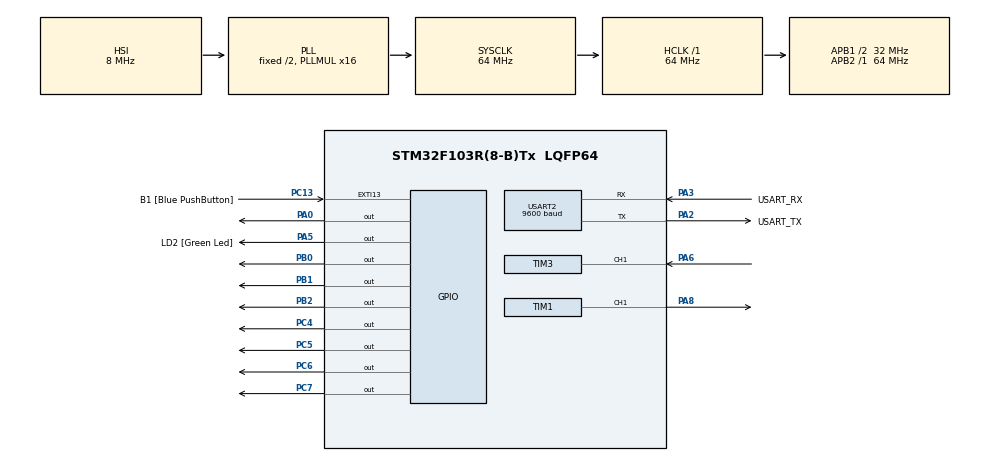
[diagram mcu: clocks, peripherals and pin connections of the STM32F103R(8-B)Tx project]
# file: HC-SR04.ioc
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Mcu.Family=STM32F1
Mcu.Name=STM32F103R(8-B)Tx
Mcu.Package=LQFP64
NVIC.EXTI15_10_IRQn=true\:0\:0\:false\:false\:true\:true
NVIC.PriorityGroup=NVIC_PRIORITYGROUP_4
NVIC.TIM1_BRK_IRQn=true\:0\:0\:false\:false\:true\:true
NVIC.TIM1_CC_IRQn=true\:0\:0\:false\:false\:true\:true
NVIC.TIM1_TRG_COM_IRQn=true\:0\:0\:false\:false\:true\:true
NVIC.TIM1_UP_IRQn=true\:0\:0\:false\:false\:true\:true
NVIC.TIM2_IRQn=true\:0\:0\:false\:false\:true\:true
NVIC.TIM3_IRQn=true\:0\:0\:false\:false\:true\:true
NVIC.TIM4_IRQn=true\:0\:0\:false\:false\:true\:true
NVIC.USART2_IRQn=true\:0\:0\:false\:false\:true\:true
PA0-WKUP.Signal=GPIO_Output
PA13.GPIO_Label=TMS
PA13.Mode=Serial_Wire
PA13.Signal=SYS_JTMS-SWDIO
PA14.GPIO_Label=TCK
PA14.Mode=Serial_Wire
PA14.Signal=SYS_JTCK-SWCLK
PA2.GPIO_Label=USART_TX
PA2.GPIO_Mode=GPIO_MODE_AF_PP
PA2.GPIO_PuPd=GPIO_NOPULL
PA2.GPIO_Speed=GPIO_SPEED_FREQ_LOW
PA2.Mode=Asynchronous
PA2.Signal=USART2_TX
PA3.GPIO_Label=USART_RX
PA3.GPIO_Mode=GPIO_MODE_AF_PP
PA3.GPIO_PuPd=GPIO_NOPULL
PA3.GPIO_Speed=GPIO_SPEED_FREQ_LOW
PA3.Mode=Asynchronous
PA3.Signal=USART2_RX
PA5.GPIO_Label=LD2 [Green Led]
PA5.GPIO_ModeDefaultOutputPP=GPIO_MODE_OUTPUT_PP
PA5.GPIO_PuPd=GPIO_NOPULL
PA5.GPIO_Speed=GPIO_SPEED_FREQ_LOW
PA5.Signal=GPIO_Output
PA6.Signal=S_TIM3_CH1
PA8.Signal=S_TIM1_CH1
PB0.Signal=GPIO_Output
PB1.Signal=GPIO_Output
PB2.Signal=GPIO_Output
PB3.GPIO_Label=SWO
PB3.Signal=SYS_JTDO-TRACESWO
PC13-TAMPER-RTC.GPIO_Label=B1 [Blue PushButton]
PC13-TAMPER-RTC.GPIO_PuPd=GPIO_NOPULL
PC13-TAMPER-RTC.Signal=GPXTI13
PC14-OSC32_IN.Mode=LSE-External-Oscillator
PC14-OSC32_IN.Signal=RCC_OSC32_IN
PC15-OSC32_OUT.Mode=LSE-External-Oscillator
PC15-OSC32_OUT.Signal=RCC_OSC32_OUT
PC4.Signal=GPIO_Output
PC5.Signal=GPIO_Output
PC6.Signal=GPIO_Output
PC7.Signal=GPIO_Output
PD0-OSC_IN.Mode=HSE-External-Clock-Source
PD0-OSC_IN.Signal=RCC_OSC_IN
PD1-OSC_OUT.Mode=HSE-External-Clock-Source
PD1-OSC_OUT.Signal=RCC_OSC_OUT
ProjectManager.HeapSize=0x200
ProjectManager.StackSize=0x400
ProjectManager.TargetToolchain=SW4STM32
RCC.AHBFreq_Value=64000000
RCC.APB1CLKDivider=RCC_HCLK_DIV2
RCC.APB1Freq_Value=32000000
RCC.APB1TimFreq_Value=64000000
RCC.APB2Freq_Value=64000000
RCC.APB2TimFreq_Value=64000000
RCC.HCLKFreq_Value=64000000
RCC.PLLMUL=RCC_PLL_MUL16
RCC.RTCClockSelection=RCC_RTCCLKSOURCE_LSE
RCC.SYSCLKFreq_VALUE=64000000
RCC.SYSCLKSource=RCC_SYSCLKSOURCE_PLLCLK
RCC.USBFreq_Value=64000000
SH.S_TIM1_CH1.0=TIM1_CH1,PWM Generation1 CH1
SH.S_TIM3_CH1.0=TIM3_CH1,PWM_Input_1
TIM1.Channel-PWM\ Generation1\ CH1=TIM_CHANNEL_1
TIM1.Period=399
TIM1.Prescaler=64
TIM2.Period=9
TIM2.Prescaler=64
TIM3.Period=65535
TIM3.Prescaler=64
TIM4.Period=51
TIM4.Prescaler=64
USART2.BaudRate=9600
USART2.VirtualMode=VM_ASYNC
VP_TIM1_VS_ClockSourceINT.Mode=Internal
VP_TIM2_VS_ClockSourceINT.Mode=Internal
VP_TIM3_VS_ClockSourceINT.Mode=Internal
VP_TIM4_VS_ClockSourceINT.Mode=Internal
board=NUCLEO-F103RB

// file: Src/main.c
/* USER CODE BEGIN Header */
/**
  ******************************************************************************
  * @file           : main.c
  * @brief          : Main program body
  ******************************************************************************
  ** This notice applies to any and all portions of this file
  * that are not between comment pairs USER CODE BEGIN and
  * USER CODE END. Other portions of this file, whether
  * inserted by the user or by software development tools
  * are owned by their respective copyright owners.
  *
  * COPYRIGHT(c) 2019 STMicroelectronics
  *
  * Redistribution and use in source and binary forms, with or without modification,
  * are permitted provided that the following conditions are met:
  *   1. Redistributions of source code must retain the above copyright notice,
  *      this list of conditions and the following disclaimer.
  *   2. Redistributions in binary form must reproduce the above copyright notice,
  *      this list of conditions and the following disclaimer in the documentation
  *      and/or other materials provided with the distribution.
  *   3. Neither the name of STMicroelectronics nor the names of its contributors
  *      may be used to endorse or promote products derived from this software
  *      without specific prior written permission.
  *
  * THIS SOFTWARE IS PROVIDED BY THE COPYRIGHT HOLDERS AND CONTRIBUTORS "AS IS"
  * AND ANY EXPRESS OR IMPLIED WARRANTIES, INCLUDING, BUT NOT LIMITED TO, THE
  * IMPLIED WARRANTIES OF MERCHANTABILITY AND FITNESS FOR A PARTICULAR PURPOSE ARE
  * DISCLAIMED. IN NO EVENT SHALL THE COPYRIGHT HOLDER OR CONTRIBUTORS BE LIABLE
  * FOR ANY DIRECT, INDIRECT, INCIDENTAL, SPECIAL, EXEMPLARY, OR CONSEQUENTIAL
  * DAMAGES (INCLUDING, BUT NOT LIMITED TO, PROCUREMENT OF SUBSTITUTE GOODS OR
  * SERVICES; LOSS OF USE, DATA, OR PROFITS; OR BUSINESS INTERRUPTION) HOWEVER
  * CAUSED AND ON ANY THEORY OF LIABILITY, WHETHER IN CONTRACT, STRICT LIABILITY,
  * OR TORT (INCLUDING NEGLIGENCE OR OTHERWISE) ARISING IN ANY WAY OUT OF THE USE
  * OF THIS SOFTWARE, EVEN IF ADVISED OF THE POSSIBILITY OF SUCH DAMAGE.
  *
  ******************************************************************************
  */
/* USER CODE END Header */

#include "main.h"

/* USER CODE BEGIN Includes */
#include <string.h>
#include <math.h>
#include "LCD.h"
#include "UART.h"

/* USER CODE END Includes */

TIM_HandleTypeDef htim1;
TIM_HandleTypeDef htim2;
TIM_HandleTypeDef htim3;
TIM_HandleTypeDef htim4;

UART_HandleTypeDef huart2;

void SystemClock_Config(void);
static void MX_GPIO_Init(void);
static void MX_USART2_UART_Init(void);
static void MX_TIM4_Init(void);
static void MX_TIM3_Init(void);
static void MX_TIM2_Init(void);
static void MX_TIM1_Init(void);

/* USER CODE BEGIN PFP */
void ftoa(float, char *, int);

/* USER CODE END PFP */

/* USER CODE BEGIN 0 */

// HC-SR04 variables
int channel2 = 0;
volatile int trigger = 1;
int measure_frequency = 20000;

// UART variables
uint8_t receiver_state = WAIT_HEADER;
char BUFF_RX[BUFF_SIZE] = {0};

// Buzzer variables
volatile _Bool Buzz = 0;
volatile uint16_t Buzz_on = 0;
volatile uint16_t Buzz_off = 0;
int sound_level = 199;
int sound_frequency = 399;

void MeasureFrequency() {
	measure_frequency = measure_frequency * 100;
}

void SoundLevelFreq() {
	sound_frequency = (64000000 / (sound_frequency * 64)) - 1;
	__HAL_TIM_SET_AUTORELOAD(&htim1, sound_frequency);
	sound_level = ((__HAL_TIM_GET_AUTORELOAD(&htim1) / 2) * sound_level) / 100;
}

void DoCommand(char *payload) {
	if(sscanf(payload, "freq:%d", &measure_frequency) == 1) {
		MeasureFrequency();
		SendFrame("%s", payload);
	} else if(sscanf(payload, "sound:%d:%d", &sound_frequency, &sound_level) == 2) {
		SoundLevelFreq();
		SendFrame("%s", payload);
	} else
		SendFrame("Error: Command not found");
}

void reverse(char *str, int len) {
	int i = 0, j = len-1, temp;
	while (i < j) {
		temp = str[i];
		str[i] = str[j];
		str[j] = temp;
		i++;
		j--;
	}
}

 // Converts a given integer x to string str[].  d is the number
 // of digits required in output. If d is more than the number
 // of digits in x, then 0s are added at the beginning.
int intToStr(int x, char str[], int d) {
    int i = 0;
    while (x) {
        str[i++] = (x % 10) + '0';
        x = x/10;
    }

    // If number of digits required is more, then
    // add 0s at the beginning
    while (i < d)
        str[i++] = '0';

    reverse(str, i);
    str[i] = '\0';
    return i;
}

// Converts a floating point number to string.
void ftoa(float n, char *res, int afterpoint) {
    // Extract integer part
    int ipart = (int)n;

    // Extract floating part
    float fpart = n - (float)ipart;

    // convert integer part to string
    int i = intToStr(ipart, res, 0);

    // check for display option after point
    if (afterpoint != 0) {
        res[i] = '.';  // add dot

        // Get the value of fraction part upto given no.
        // of points after dot. The third parameter is needed
        // to handle cases like 233.007
        fpart = fpart * pow(10, afterpoint);

        intToStr((int)fpart, res + i + 1, afterpoint);
    }
}

void HAL_TIM_PeriodElapsedCallback(TIM_HandleTypeDef *htim) {

	// USART
	static uint8_t period = 0;
    if(htim->Instance == TIM4) {
        if(__HAL_UART_GET_FLAG(&huart2, UART_FLAG_IDLE) == SET) {
            period++;
            if(period > 5) {
                period = 0;
                receiver_state = WAIT_HEADER;
                HAL_TIM_Base_Stop_IT(&htim4);
            }
        }
    }

    // Impuls 10 [us] na trigger co 200 [ms]
	if (htim->Instance == TIM2) {
		if (trigger == 1) {
			HAL_GPIO_WritePin(GPIOA, GPIO_PIN_0, GPIO_PIN_SET);
			trigger = 0;
		} else if(trigger == 0) {
			HAL_GPIO_WritePin(GPIOA, GPIO_PIN_0, GPIO_PIN_RESET);

			static int trigger_gap = 0;
			trigger_gap++;
			if (trigger_gap >= measure_frequency) {
				trigger_gap = 0;
				trigger = 1;
			}
		}

	}
}

void HAL_TIM_IC_CaptureCallback(TIM_HandleTypeDef *htim) {
	__disable_irq();

	HAL_TIM_Base_Stop_IT(&htim2);

	channel2 = HAL_TIM_ReadCapturedValue(&htim3, TIM_CHANNEL_2) + 1;

	__HAL_TIM_SET_COUNTER(&htim2, 0);
	HAL_TIM_Base_Start_IT(&htim2);

	__enable_irq();
}

// Buzzer
void HAL_SYSTICK_Callback(void) {
	static uint32_t period = 0;
	period++;
	if((period >= 0) && (period <= Buzz_on-1))
		Buzz = 1;
	else if((period > Buzz_on-1) && (period <= Buzz_off+Buzz_on-1))
		Buzz = 0;
	else
		period = 0;
}

/* USER CODE END 0 */

int main(void)
{

  /* MCU Configuration--------------------------------------------------------*/

  /* Reset of all peripherals, Initializes the Flash interface and the Systick. */
  HAL_Init();

  /* Configure the system clock */
  SystemClock_Config();

  /* Initialize all configured peripherals */
  MX_GPIO_Init();
  MX_USART2_UART_Init();
  MX_TIM4_Init();
  MX_TIM3_Init();
  MX_TIM2_Init();
  MX_TIM1_Init();
  /* USER CODE BEGIN 2 */

  HAL_TIM_Base_Start_IT(&htim2);

  HAL_TIM_IC_Start_IT(&htim3, TIM_CHANNEL_1);
  HAL_TIM_IC_Start_IT(&htim3, TIM_CHANNEL_2);

  HAL_TIM_PWM_Start_IT(&htim1, TIM_CHANNEL_1);

  HAL_UART_Receive_IT(&huart2, (uint8_t *)&BUFF_RX[0], 1);

  SendFrame("HC-SR04: czujnik ultradzwiekowy");

  LCD_init();

  /* USER CODE END 2 */

  /* Infinite loop */
  /* USER CODE BEGIN WHILE */
  while (1) {
	  DecodeFrame();

	  if(trigger) {
		  char buff[20] = {0};
		  float result = channel2/58.0;

		  if(result < 10) {
			  Buzz_on = 2;
			  Buzz_off = 0;
	      } else if((result >= 13) && (result <= 32)) {
			  Buzz_on = 100;
			  Buzz_off = 100;
		  } else if((result >= 35) && (result <= 52)) {
			  Buzz_on = 200;
			  Buzz_off = 200;
		  } else if((result >= 55) && (result <= 72)) {
			  Buzz_on = 300;
			  Buzz_off = 300;
		  } else if((result >= 75) && (result <= 92)) {
			  Buzz_on = 400;
			  Buzz_off = 400;
		  } else if((result >= 95) && (result <= 112)) {
			  Buzz_on = 500;
			  Buzz_off = 500;
		  } else if((result >= 115) && (result <= 132)) {
			  Buzz_on = 600;
			  Buzz_off = 600;
		  } else if(result > 135) {
			  Buzz_on = 700;
			  Buzz_off = 700;
		  }

		  ftoa(result, buff, 1);

		  //UART_Send_Tx("Distance: %s [cm]\r\n", buff);
		  LCD_writeCmd(LCD_CLEAR);
		  LCD_display(0, 0, "Distance:");
		  LCD_display(0, 1, "%s [cm]", buff);
	  }

	  if(Buzz)
		  __HAL_TIM_SET_COMPARE(&htim1, TIM_CHANNEL_1, sound_level);
	  else
		  __HAL_TIM_SET_COMPARE(&htim1, TIM_CHANNEL_1, 0);

    /* USER CODE END WHILE */

  }
}

void SystemClock_Config(void)
{
  RCC_OscInitTypeDef RCC_OscInitStruct = {0};
  RCC_ClkInitTypeDef RCC_ClkInitStruct = {0};

  /**Initializes the CPU, AHB and APB busses clocks
  */
  RCC_OscInitStruct.OscillatorType = RCC_OSCILLATORTYPE_HSI;
  RCC_OscInitStruct.HSIState = RCC_HSI_ON;
  RCC_OscInitStruct.HSICalibrationValue = RCC_HSICALIBRATION_DEFAULT;
  RCC_OscInitStruct.PLL.PLLState = RCC_PLL_ON;
  RCC_OscInitStruct.PLL.PLLSource = RCC_PLLSOURCE_HSI_DIV2;
  RCC_OscInitStruct.PLL.PLLMUL = RCC_PLL_MUL16;
  if (HAL_RCC_OscConfig(&RCC_OscInitStruct) != HAL_OK)
  {
    Error_Handler();
  }
  /**Initializes the CPU, AHB and APB busses clocks
  */
  RCC_ClkInitStruct.ClockType = RCC_CLOCKTYPE_HCLK|RCC_CLOCKTYPE_SYSCLK
                              |RCC_CLOCKTYPE_PCLK1|RCC_CLOCKTYPE_PCLK2;
  RCC_ClkInitStruct.SYSCLKSource = RCC_SYSCLKSOURCE_PLLCLK;
  RCC_ClkInitStruct.AHBCLKDivider = RCC_SYSCLK_DIV1;
  RCC_ClkInitStruct.APB1CLKDivider = RCC_HCLK_DIV2;
  RCC_ClkInitStruct.APB2CLKDivider = RCC_HCLK_DIV1;

  if (HAL_RCC_ClockConfig(&RCC_ClkInitStruct, FLASH_LATENCY_2) != HAL_OK)
  {
    Error_Handler();
  }
}

static void MX_TIM1_Init(void)
{

  TIM_ClockConfigTypeDef sClockSourceConfig = {0};
  TIM_MasterConfigTypeDef sMasterConfig = {0};
  TIM_OC_InitTypeDef sConfigOC = {0};
  TIM_BreakDeadTimeConfigTypeDef sBreakDeadTimeConfig = {0};

  htim1.Instance = TIM1;
  htim1.Init.Prescaler = 64;
  htim1.Init.CounterMode = TIM_COUNTERMODE_UP;
  htim1.Init.Period = 399;
  htim1.Init.ClockDivision = TIM_CLOCKDIVISION_DIV1;
  htim1.Init.RepetitionCounter = 0;
  htim1.Init.AutoReloadPreload = TIM_AUTORELOAD_PRELOAD_DISABLE;
  if (HAL_TIM_Base_Init(&htim1) != HAL_OK)
  {
    Error_Handler();
  }
  sClockSourceConfig.ClockSource = TIM_CLOCKSOURCE_INTERNAL;
  if (HAL_TIM_ConfigClockSource(&htim1, &sClockSourceConfig) != HAL_OK)
  {
    Error_Handler();
  }
  if (HAL_TIM_PWM_Init(&htim1) != HAL_OK)
  {
    Error_Handler();
  }
  sMasterConfig.MasterOutputTrigger = TIM_TRGO_RESET;
  sMasterConfig.MasterSlaveMode = TIM_MASTERSLAVEMODE_DISABLE;
  if (HAL_TIMEx_MasterConfigSynchronization(&htim1, &sMasterConfig) != HAL_OK)
  {
    Error_Handler();
  }
  sConfigOC.OCMode = TIM_OCMODE_PWM1;
  sConfigOC.Pulse = 0;
  sConfigOC.OCPolarity = TIM_OCPOLARITY_HIGH;
  sConfigOC.OCNPolarity = TIM_OCNPOLARITY_HIGH;
  sConfigOC.OCFastMode = TIM_OCFAST_DISABLE;
  sConfigOC.OCIdleState = TIM_OCIDLESTATE_RESET;
  sConfigOC.OCNIdleState = TIM_OCNIDLESTATE_RESET;
  if (HAL_TIM_PWM_ConfigChannel(&htim1, &sConfigOC, TIM_CHANNEL_1) != HAL_OK)
  {
    Error_Handler();
  }
  sBreakDeadTimeConfig.OffStateRunMode = TIM_OSSR_DISABLE;
  sBreakDeadTimeConfig.OffStateIDLEMode = TIM_OSSI_DISABLE;
  sBreakDeadTimeConfig.LockLevel = TIM_LOCKLEVEL_OFF;
  sBreakDeadTimeConfig.DeadTime = 0;
  sBreakDeadTimeConfig.BreakState = TIM_BREAK_DISABLE;
  sBreakDeadTimeConfig.BreakPolarity = TIM_BREAKPOLARITY_HIGH;
  sBreakDeadTimeConfig.AutomaticOutput = TIM_AUTOMATICOUTPUT_DISABLE;
  if (HAL_TIMEx_ConfigBreakDeadTime(&htim1, &sBreakDeadTimeConfig) != HAL_OK)
  {
    Error_Handler();
  }
  HAL_TIM_MspPostInit(&htim1);

}

static void MX_TIM2_Init(void)
{

  TIM_ClockConfigTypeDef sClockSourceConfig = {0};
  TIM_MasterConfigTypeDef sMasterConfig = {0};

  htim2.Instance = TIM2;
  htim2.Init.Prescaler = 64;
  htim2.Init.CounterMode = TIM_COUNTERMODE_UP;
  htim2.Init.Period = 9;
  htim2.Init.ClockDivision = TIM_CLOCKDIVISION_DIV1;
  htim2.Init.AutoReloadPreload = TIM_AUTORELOAD_PRELOAD_DISABLE;
  if (HAL_TIM_Base_Init(&htim2) != HAL_OK)
  {
    Error_Handler();
  }
  sClockSourceConfig.ClockSource = TIM_CLOCKSOURCE_INTERNAL;
  if (HAL_TIM_ConfigClockSource(&htim2, &sClockSourceConfig) != HAL_OK)
  {
    Error_Handler();
  }
  sMasterConfig.MasterOutputTrigger = TIM_TRGO_RESET;
  sMasterConfig.MasterSlaveMode = TIM_MASTERSLAVEMODE_DISABLE;
  if (HAL_TIMEx_MasterConfigSynchronization(&htim2, &sMasterConfig) != HAL_OK)
  {
    Error_Handler();
  }

}

static void MX_TIM3_Init(void)
{

  TIM_ClockConfigTypeDef sClockSourceConfig = {0};
  TIM_SlaveConfigTypeDef sSlaveConfig = {0};
  TIM_IC_InitTypeDef sConfigIC = {0};
  TIM_MasterConfigTypeDef sMasterConfig = {0};

  htim3.Instance = TIM3;
  htim3.Init.Prescaler = 64;
  htim3.Init.CounterMode = TIM_COUNTERMODE_UP;
  htim3.Init.Period = 65535;
  htim3.Init.ClockDivision = TIM_CLOCKDIVISION_DIV1;
  htim3.Init.AutoReloadPreload = TIM_AUTORELOAD_PRELOAD_DISABLE;
  if (HAL_TIM_Base_Init(&htim3) != HAL_OK)
  {
    Error_Handler();
  }
  sClockSourceConfig.ClockSource = TIM_CLOCKSOURCE_INTERNAL;
  if (HAL_TIM_ConfigClockSource(&htim3, &sClockSourceConfig) != HAL_OK)
  {
    Error_Handler();
  }
  if (HAL_TIM_IC_Init(&htim3) != HAL_OK)
  {
    Error_Handler();
  }
  sSlaveConfig.SlaveMode = TIM_SLAVEMODE_RESET;
  sSlaveConfig.InputTrigger = TIM_TS_TI1FP1;
  sSlaveConfig.TriggerPolarity = TIM_INPUTCHANNELPOLARITY_RISING;
  sSlaveConfig.TriggerPrescaler = TIM_ICPSC_DIV1;
  sSlaveConfig.TriggerFilter = 0;
  if (HAL_TIM_SlaveConfigSynchronization(&htim3, &sSlaveConfig) != HAL_OK)
  {
    Error_Handler();
  }
  sConfigIC.ICPolarity = TIM_INPUTCHANNELPOLARITY_RISING;
  sConfigIC.ICSelection = TIM_ICSELECTION_DIRECTTI;
  sConfigIC.ICPrescaler = TIM_ICPSC_DIV1;
  sConfigIC.ICFilter = 0;
  if (HAL_TIM_IC_ConfigChannel(&htim3, &sConfigIC, TIM_CHANNEL_1) != HAL_OK)
  {
    Error_Handler();
  }
  sConfigIC.ICPolarity = TIM_INPUTCHANNELPOLARITY_FALLING;
  sConfigIC.ICSelection = TIM_ICSELECTION_INDIRECTTI;
  if (HAL_TIM_IC_ConfigChannel(&htim3, &sConfigIC, TIM_CHANNEL_2) != HAL_OK)
  {
    Error_Handler();
  }
  sMasterConfig.MasterOutputTrigger = TIM_TRGO_RESET;
  sMasterConfig.MasterSlaveMode = TIM_MASTERSLAVEMODE_DISABLE;
  if (HAL_TIMEx_MasterConfigSynchronization(&htim3, &sMasterConfig) != HAL_OK)
  {
    Error_Handler();
  }

}

static void MX_TIM4_Init(void)
{

  TIM_ClockConfigTypeDef sClockSourceConfig = {0};
  TIM_MasterConfigTypeDef sMasterConfig = {0};

  htim4.Instance = TIM4;
  htim4.Init.Prescaler = 64;
  htim4.Init.CounterMode = TIM_COUNTERMODE_UP;
  htim4.Init.Period = 1040;
  htim4.Init.ClockDivision = TIM_CLOCKDIVISION_DIV1;
  htim4.Init.AutoReloadPreload = TIM_AUTORELOAD_PRELOAD_DISABLE;
  if (HAL_TIM_Base_Init(&htim4) != HAL_OK)
  {
    Error_Handler();
  }
  sClockSourceConfig.ClockSource = TIM_CLOCKSOURCE_INTERNAL;
  if (HAL_TIM_ConfigClockSource(&htim4, &sClockSourceConfig) != HAL_OK)
  {
    Error_Handler();
  }
  sMasterConfig.MasterOutputTrigger = TIM_TRGO_RESET;
  sMasterConfig.MasterSlaveMode = TIM_MASTERSLAVEMODE_DISABLE;
  if (HAL_TIMEx_MasterConfigSynchronization(&htim4, &sMasterConfig) != HAL_OK)
  {
    Error_Handler();
  }

}

static void MX_USART2_UART_Init(void)
{

  huart2.Instance = USART2;
  huart2.Init.BaudRate = 9600;
  huart2.Init.WordLength = UART_WORDLENGTH_8B;
  huart2.Init.StopBits = UART_STOPBITS_1;
  huart2.Init.Parity = UART_PARITY_NONE;
  huart2.Init.Mode = UART_MODE_TX_RX;
  huart2.Init.HwFlowCtl = UART_HWCONTROL_NONE;
  huart2.Init.OverSampling = UART_OVERSAMPLING_16;
  if (HAL_UART_Init(&huart2) != HAL_OK)
  {
    Error_Handler();
  }

}

static void MX_GPIO_Init(void)
{
  GPIO_InitTypeDef GPIO_InitStruct = {0};

  /* GPIO Ports Clock Enable */
  __HAL_RCC_GPIOC_CLK_ENABLE();
  __HAL_RCC_GPIOD_CLK_ENABLE();
  __HAL_RCC_GPIOA_CLK_ENABLE();
  __HAL_RCC_GPIOB_CLK_ENABLE();

  /*Configure GPIO pin Output Level */
  HAL_GPIO_WritePin(GPIOA, GPIO_PIN_0|LD2_Pin, GPIO_PIN_RESET);

  /*Configure GPIO pin Output Level */
  HAL_GPIO_WritePin(GPIOC, GPIO_PIN_4|GPIO_PIN_5|GPIO_PIN_6|GPIO_PIN_7, GPIO_PIN_RESET);

  /*Configure GPIO pin Output Level */
  HAL_GPIO_WritePin(GPIOB, GPIO_PIN_0|GPIO_PIN_1|GPIO_PIN_2, GPIO_PIN_RESET);

  /*Configure GPIO pin : B1_Pin */
  GPIO_InitStruct.Pin = B1_Pin;
  GPIO_InitStruct.Mode = GPIO_MODE_IT_RISING;
  GPIO_InitStruct.Pull = GPIO_NOPULL;
  HAL_GPIO_Init(B1_GPIO_Port, &GPIO_InitStruct);

  /*Configure GPIO pins : PA0 LD2_Pin */
  GPIO_InitStruct.Pin = GPIO_PIN_0|LD2_Pin;
  GPIO_InitStruct.Mode = GPIO_MODE_OUTPUT_PP;
  GPIO_InitStruct.Pull = GPIO_NOPULL;
  GPIO_InitStruct.Speed = GPIO_SPEED_FREQ_LOW;
  HAL_GPIO_Init(GPIOA, &GPIO_InitStruct);

  /*Configure GPIO pins : PC4 PC5 PC6 PC7 */
  GPIO_InitStruct.Pin = GPIO_PIN_4|GPIO_PIN_5|GPIO_PIN_6|GPIO_PIN_7;
  GPIO_InitStruct.Mode = GPIO_MODE_OUTPUT_PP;
  GPIO_InitStruct.Pull = GPIO_NOPULL;
  GPIO_InitStruct.Speed = GPIO_SPEED_FREQ_LOW;
  HAL_GPIO_Init(GPIOC, &GPIO_InitStruct);

  /*Configure GPIO pins : PB0 PB1 PB2 */
  GPIO_InitStruct.Pin = GPIO_PIN_0|GPIO_PIN_1|GPIO_PIN_2;
  GPIO_InitStruct.Mode = GPIO_MODE_OUTPUT_PP;
  GPIO_InitStruct.Pull = GPIO_NOPULL;
  GPIO_InitStruct.Speed = GPIO_SPEED_FREQ_LOW;
  HAL_GPIO_Init(GPIOB, &GPIO_InitStruct);

  /* EXTI interrupt init*/
  HAL_NVIC_SetPriority(EXTI15_10_IRQn, 0, 0);
  HAL_NVIC_EnableIRQ(EXTI15_10_IRQn);

}

void Error_Handler(void)
{
}

/************************ (C) COPYRIGHT STMicroelectronics *****END OF FILE****/
